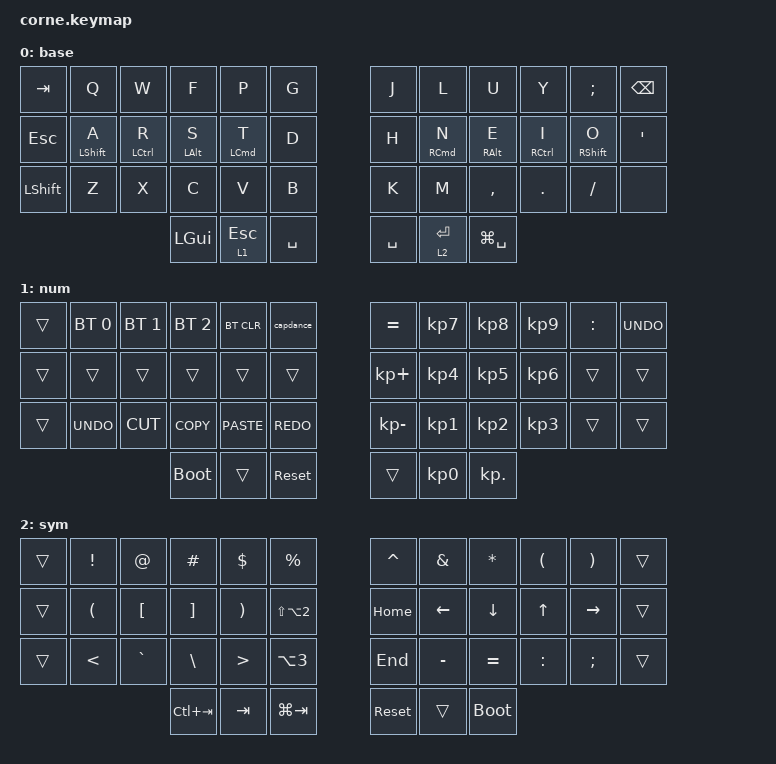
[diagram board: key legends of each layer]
#include <behaviors.dtsi>
#include <dt-bindings/zmk/mouse.h>
#include <dt-bindings/zmk/bt.h>
#include <dt-bindings/zmk/keys.h>

// dt-formatter: indent = "  "
// dt-formatter: multilineIntegerCellsIndent = "reindent"
// dt-formatter: multilineListCommaStyle = "leading"

&sk {
  /delete-property/ ignore-modifiers;
};

/ {
  combos {
    compatible = "zmk,combos";

    caps_word {
      key-positions = <13 22>;
      bindings = <&caps_word>;
    };

    cb_ij {
      bindings = <&m_ij>;
      key-positions = <7 8>;
    };

    cb_sch {
      bindings = <&m_sch>;
      key-positions = <4 3>;
    };

    cb_tion {
      bindings = <&m_tion>;
      key-positions = <8 9>;
    };
  };

  macros {
    m_ij: m_ij {
      compatible = "zmk,behavior-macro";
      #binding-cells = <0>;
      label = "M_IJ";
      bindings = <&kp I &kp J>;
    };
    m_sch: m_sch {
      compatible = "zmk,behavior-macro";
      #binding-cells = <0>;
      label = "M_SCH";
      bindings = <&kp S &kp C &kp H>;
    };
    m_tion: m_tion {
      compatible = "zmk,behavior-macro";
      #binding-cells = <0>;
      label = "M_TION";
      bindings = <&kp T &kp I &kp O &kp N>;
    };
  };

  behaviors {
    hml: homewrow_mods_left {
      compatible = "zmk,behavior-hold-tap";
      #binding-cells = <2>;
      label = "HOMEROW_MODS_LEFT_HAND";
      bindings = <&kp>, <&kp>;

      tapping-term-ms = <220>;
      flavor = "tap-preferred";
      quick-tap-ms = <150>;
      require-prior-idle-ms = <125>;
    };
    hmr: homewrow_mods_right {
      compatible = "zmk,behavior-hold-tap";
      #binding-cells = <2>;
      label = "HOMEROW_MODS_RIGHT_HAND";
      bindings = <&kp>, <&kp>;

      tapping-term-ms = <220>;
      quick-tap-ms = <150>;
      flavor = "tap-preferred";
      require-prior-idle-ms = <125>;
    };
    capdance: capdance {
      compatible = "zmk,behavior-tap-dance";
      label = "CAPDANCE";
      #binding-cells = <0>;
      bindings = <&caps_word>, <&kp CAPS>;
    };
  };

  conditional_layers {
    compatible = "zmk,conditional-layers";

    tri_layer {
      if-layers = <1 2>;
      then-layer = <3>;
    };
  };

  keymap {
    compatible = "zmk,keymap";

    base {
      bindings = <
        &kp TAB     &kp Q         &kp W         &kp F        &kp P         &kp G        &kp J      &kp L        &kp U          &kp Y         &kp SEMICOLON  &kp BACKSPACE
        &kp ESCAPE  &hml LSHFT A  &hml LCTRL R  &hml LALT S  &hml LCMD T   &kp D        &kp H      &hmr RCMD N  &hmr RALT E    &hmr RCTRL I  &hmr RSHFT O   &kp SQT
        &kp LSHFT   &kp Z         &kp X         &kp C        &kp V         &kp B        &kp K      &kp M        &kp COMMA      &kp DOT       &kp FSLH       &none
                                                &kp LGUI     &lt 1 ESCAPE  &kp SPACE    &kp SPACE  &lt 2 RET    &kp LG(SPACE)
      >;
    };

    num {
      bindings = <
        &trans  &bt BT_SEL 0  &bt BT_SEL 1  &bt BT_SEL 2  &bt BT_CLR   &capdance     &kp EQUAL     &kp KP_NUMBER_7  &kp KP_NUMBER_8  &kp KP_NUMBER_9  &kp COLON  &kp K_UNDO
        &trans  &trans        &trans        &trans        &trans       &trans        &kp KP_PLUS   &kp KP_NUMBER_4  &kp KP_NUMBER_5  &kp KP_NUMBER_6  &trans     &trans
        &trans  &kp K_UNDO    &kp K_CUT     &kp K_COPY    &kp K_PASTE  &kp K_REDO    &kp KP_MINUS  &kp KP_NUMBER_1  &kp KP_NUMBER_2  &kp KP_NUMBER_3  &trans     &trans
                                            &bootloader   &trans       &sys_reset    &trans        &kp KP_NUMBER_0  &kp KP_DOT
      >;
    };

    sym {
      bindings = <
        &trans  &kp EXCL  &kp AT     &kp HASH     &kp DLLR  &kp PRCNT               &kp CARET   &kp AMPS   &kp STAR     &kp LPAR   &kp RPAR       &trans
        &trans  &kp LPAR  &kp LBKT   &kp RBKT     &kp RPAR  &kp LS(LA(NUMBER_2))    &kp HOME    &kp LEFT   &kp DOWN     &kp UP     &kp RIGHT      &trans
        &trans  &kp LT    &kp GRAVE  &kp BSLH     &kp GT    &kp LA(NUMBER_3)        &kp END     &kp MINUS  &kp EQUAL    &kp COLON  &kp SEMICOLON  &trans
                                     &kp LC(TAB)  &kp TAB   &kp LG(TAB)             &sys_reset  &trans     &bootloader
      >;
    };
  };
};
